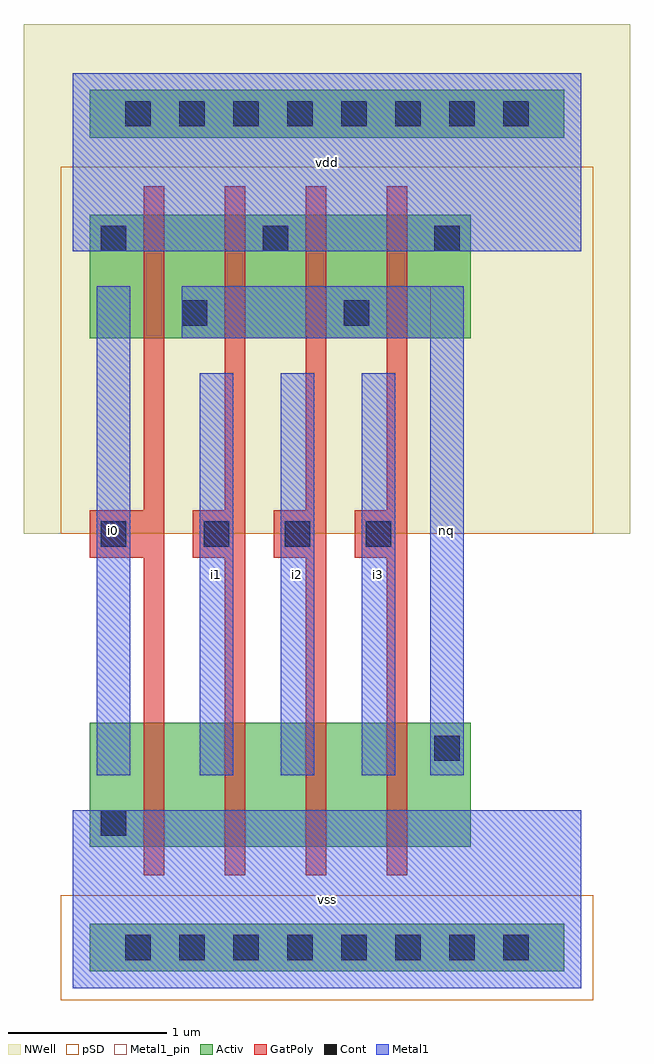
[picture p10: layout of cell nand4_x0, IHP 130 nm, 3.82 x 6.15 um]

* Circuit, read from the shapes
.subckt nand4_x0 i0 i1 i2 i3 nq vdd vss
XM1 n1 i0 vss vss sg13_lv_nmos w=0.78u l=0.13u
XM2 n2 i1 n1 vss sg13_lv_nmos w=0.78u l=0.13u
XM3 n3 i2 n2 vss sg13_lv_nmos w=0.78u l=0.13u
XM4 nq i3 n3 vss sg13_lv_nmos w=0.78u l=0.13u
XM5 nq i0 vdd vdd sg13_lv_pmos w=0.78u l=0.13u
XM6 vdd i1 nq vdd sg13_lv_pmos w=0.78u l=0.13u
XM7 nq i2 vdd vdd sg13_lv_pmos w=0.78u l=0.13u
XM8 vdd i3 nq vdd sg13_lv_pmos w=0.78u l=0.13u
.ends

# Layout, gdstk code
import gdstk
lib = gdstk.Library(unit=1e-6, precision=1e-09)
def R(c, l, rs):  # rectangles x0, y0, x1, y1
    for r in rs: c.add(gdstk.rectangle(r[:2], r[2:], *l))
def A(c, l, x, y, w, h, nx, ny, dx, dy):  # array of equal rectangles
    R(c, l, [(x+i*dx, y+j*dy, x+i*dx+w, y+j*dy+h) for i in range(nx) for j in range(ny)])
def P(c, l, *ps):  # polygons
    for p in ps: c.add(gdstk.Polygon(p, *l))
Activ = (1, 0)
GatPoly = (5, 0)
Cont = (6, 0)
Metal1 = (8, 0)
Metal1_pin = (8, 2)
pSD = (14, 0)
NWell = (31, 0)

nand4_x0 = lib.new_cell('nand4_x0')
P(nand4_x0, Activ, [(1.085,4.09),(1.085,4.87),(1.315,4.87),(1.315,4.09),(1.085,4.09)],
  [(1.975,4.09),(1.975,4.87),(2.105,4.87),(2.105,4.09),(1.975,4.09)],
  [(0.105,4.57),(0.105,4.87),(0.405,4.87),(0.405,4.57),(0.105,4.57)],
  [(0.105,4.09),(0.105,4.87),(0.405,4.87),(0.405,4.09),(0.105,4.09)],
  [(2.205,4.57),(2.205,4.87),(2.505,4.87),(2.505,4.57),(2.205,4.57)],
  [(2.205,4.09),(2.205,4.87),(2.505,4.87),(2.505,4.09),(2.205,4.09)],
  [(0.445,4.09),(0.445,4.87),(0.575,4.87),(0.575,4.09),(0.445,4.09)],
  [(1.125,4.57),(1.125,4.87),(1.425,4.87),(1.425,4.57),(1.125,4.57)],
  [(2.105,4.09),(2.105,4.87),(2.335,4.87),(2.335,4.09),(2.105,4.09)],
  [(2.175,4.09),(2.175,4.87),(2.505,4.87),(2.505,4.09),(2.175,4.09)],
  [(1.125,4.09),(1.125,4.87),(1.425,4.87),(1.425,4.09),(1.125,4.09)],
  [(0.955,4.09),(0.955,4.87),(1.085,4.87),(1.085,4.09),(0.955,4.09)],
  [(1.235,4.09),(1.235,4.87),(1.465,4.87),(1.465,4.09),(1.235,4.09)],
  [(1.465,4.09),(1.465,4.87),(1.595,4.87),(1.595,4.09),(1.465,4.09)],
  [(0.105,5.355),(0.105,5.655),(3.095,5.655),(3.095,5.355),(0.105,5.355)],
  [(0.105,4.09),(0.105,4.87),(0.375,4.87),(0.375,4.09),(0.105,4.09)],
  [(0.26,5.355),(0.26,5.655),(2.94,5.655),(2.94,5.355),(0.26,5.355)],
  [(1.155,4.09),(1.155,4.87),(1.395,4.87),(1.395,4.09),(1.155,4.09)],
  [(0.215,4.09),(0.215,4.87),(0.445,4.87),(0.445,4.09),(0.215,4.09)],
  [(0.215,0.89),(0.215,1.67),(0.445,1.67),(0.445,0.89),(0.215,0.89)],
  [(0.105,0.89),(0.105,1.67),(0.375,1.67),(0.375,0.89),(0.105,0.89)],
  [(0.105,0.89),(0.105,1.19),(0.405,1.19),(0.405,0.89),(0.105,0.89)],
  [(0.105,0.105),(0.105,0.405),(3.095,0.405),(3.095,0.105),(0.105,0.105)],
  [(0.105,0.89),(0.105,1.67),(0.405,1.67),(0.405,0.89),(0.105,0.89)],
  [(1.465,0.89),(1.465,1.67),(1.595,1.67),(1.595,0.89),(1.465,0.89)],
  [(0.955,0.89),(0.955,1.67),(1.085,1.67),(1.085,0.89),(0.955,0.89)],
  [(0.26,0.105),(0.26,0.405),(2.94,0.405),(2.94,0.105),(0.26,0.105)],
  [(0.445,0.89),(0.445,1.67),(0.575,1.67),(0.575,0.89),(0.445,0.89)],
  [(1.975,0.89),(1.975,1.67),(2.105,1.67),(2.105,0.89),(1.975,0.89)],
  [(0.575,0.89),(0.575,1.67),(0.805,1.67),(0.805,0.89),(0.575,0.89)],
  [(0.725,0.89),(0.725,1.67),(0.955,1.67),(0.955,0.89),(0.725,0.89)],
  [(0.58,0.89),(0.58,1.67),(0.95,1.67),(0.95,0.89),(0.58,0.89)],
  [(0.645,0.89),(0.645,1.67),(0.885,1.67),(0.885,0.89),(0.645,0.89)],
  [(1.745,0.89),(1.745,1.67),(1.975,1.67),(1.975,0.89),(1.745,0.89)],
  [(1.595,0.89),(1.595,1.67),(1.825,1.67),(1.825,0.89),(1.595,0.89)],
  [(1.665,0.89),(1.665,1.67),(1.905,1.67),(1.905,0.89),(1.665,0.89)],
  [(1.6,0.89),(1.6,1.67),(1.97,1.67),(1.97,0.89),(1.6,0.89)],
  [(1.09,0.89),(1.09,1.67),(1.46,1.67),(1.46,0.89),(1.09,0.89)],
  [(1.235,0.89),(1.235,1.67),(1.465,1.67),(1.465,0.89),(1.235,0.89)],
  [(1.085,0.89),(1.085,1.67),(1.315,1.67),(1.315,0.89),(1.085,0.89)],
  [(1.155,0.89),(1.155,1.67),(1.395,1.67),(1.395,0.89),(1.155,0.89)],
  [(1.595,4.09),(1.595,4.87),(1.825,4.87),(1.825,4.09),(1.595,4.09)],
  [(1.665,4.09),(1.665,4.87),(1.905,4.87),(1.905,4.09),(1.665,4.09)],
  [(0.575,4.09),(0.575,4.87),(0.805,4.87),(0.805,4.09),(0.575,4.09)],
  [(0.645,4.09),(0.645,4.87),(0.885,4.87),(0.885,4.09),(0.645,4.09)],
  [(0.615,4.1),(0.615,4.4),(0.915,4.4),(0.915,4.1),(0.615,4.1)],
  [(1.745,4.09),(1.745,4.87),(1.975,4.87),(1.975,4.09),(1.745,4.09)],
  [(2.105,0.89),(2.105,1.67),(2.335,1.67),(2.335,0.89),(2.105,0.89)],
  [(1.635,4.1),(1.635,4.4),(1.935,4.4),(1.935,4.1),(1.635,4.1)],
  [(2.175,0.89),(2.175,1.67),(2.505,1.67),(2.505,0.89),(2.175,0.89)],
  [(0.725,4.09),(0.725,4.87),(0.955,4.87),(0.955,4.09),(0.725,4.09)],
  [(0.615,4.09),(0.615,4.87),(0.915,4.87),(0.915,4.09),(0.615,4.09)],
  [(1.635,4.09),(1.635,4.87),(1.935,4.87),(1.935,4.09),(1.635,4.09)],
  [(2.205,1.36),(2.205,1.66),(2.505,1.66),(2.505,1.36),(2.205,1.36)],
  [(2.205,0.89),(2.205,1.67),(2.505,1.67),(2.505,0.89),(2.205,0.89)])
P(nand4_x0, GatPoly, [(0.445,0.71),(0.445,3.91),(0.575,3.91),(0.575,0.71),(0.445,0.71)],
  [(0.255,2.71),(0.255,3.01),(0.51,3.01),(0.51,2.71),(0.255,2.71)],
  [(0.445,0.71),(0.445,1.85),(0.575,1.85),(0.575,0.71),(0.445,0.71)],
  [(0.105,2.71),(0.105,3.01),(0.405,3.01),(0.405,2.71),(0.105,2.71)],
  [(0.445,3.91),(0.445,5.05),(0.575,5.05),(0.575,3.91),(0.445,3.91)],
  [(0.955,0.71),(0.955,1.85),(1.085,1.85),(1.085,0.71),(0.955,0.71)],
  [(0.905,2.71),(0.905,3.01),(1.02,3.01),(1.02,2.71),(0.905,2.71)],
  [(0.955,0.71),(0.955,3.91),(1.085,3.91),(1.085,0.71),(0.955,0.71)],
  [(0.955,3.91),(0.955,5.05),(1.085,5.05),(1.085,3.91),(0.955,3.91)],
  [(0.755,2.71),(0.755,3.01),(1.055,3.01),(1.055,2.71),(0.755,2.71)],
  [(1.465,0.71),(1.465,1.85),(1.595,1.85),(1.595,0.71),(1.465,0.71)],
  [(1.465,3.91),(1.465,5.05),(1.595,5.05),(1.595,3.91),(1.465,3.91)],
  [(1.465,0.71),(1.465,3.91),(1.595,3.91),(1.595,0.71),(1.465,0.71)],
  [(1.265,2.71),(1.265,3.01),(1.565,3.01),(1.565,2.71),(1.265,2.71)],
  [(1.415,2.71),(1.415,3.01),(1.53,3.01),(1.53,2.71),(1.415,2.71)],
  [(1.975,0.71),(1.975,1.85),(2.105,1.85),(2.105,0.71),(1.975,0.71)],
  [(1.775,2.71),(1.775,3.01),(2.075,3.01),(2.075,2.71),(1.775,2.71)],
  [(1.975,0.71),(1.975,3.91),(2.105,3.91),(2.105,0.71),(1.975,0.71)],
  [(1.925,2.71),(1.925,3.01),(2.04,3.01),(2.04,2.71),(1.925,2.71)],
  [(1.975,3.91),(1.975,5.05),(2.105,5.05),(2.105,3.91),(1.975,3.91)])
P(nand4_x0, Cont, [(2.275,4.64),(2.275,4.8),(2.435,4.8),(2.435,4.64),(2.275,4.64)],
  [(2.71,5.425),(2.71,5.585),(2.87,5.585),(2.87,5.425),(2.71,5.425)],
  [(2.37,5.425),(2.37,5.585),(2.53,5.585),(2.53,5.425),(2.37,5.425)],
  [(2.03,5.425),(2.03,5.585),(2.19,5.585),(2.19,5.425),(2.03,5.425)],
  [(1.69,5.425),(1.69,5.585),(1.85,5.585),(1.85,5.425),(1.69,5.425)],
  [(1.35,5.425),(1.35,5.585),(1.51,5.585),(1.51,5.425),(1.35,5.425)],
  [(1.01,5.425),(1.01,5.585),(1.17,5.585),(1.17,5.425),(1.01,5.425)],
  [(0.67,5.425),(0.67,5.585),(0.83,5.585),(0.83,5.425),(0.67,5.425)],
  [(0.33,5.425),(0.33,5.585),(0.49,5.585),(0.49,5.425),(0.33,5.425)],
  [(0.175,4.64),(0.175,4.8),(0.335,4.8),(0.335,4.64),(0.175,4.64)],
  [(1.195,4.64),(1.195,4.8),(1.355,4.8),(1.355,4.64),(1.195,4.64)],
  [(0.175,0.96),(0.175,1.12),(0.335,1.12),(0.335,0.96),(0.175,0.96)],
  [(0.33,0.175),(0.33,0.335),(0.49,0.335),(0.49,0.175),(0.33,0.175)],
  [(0.67,0.175),(0.67,0.335),(0.83,0.335),(0.83,0.175),(0.67,0.175)],
  [(1.01,0.175),(1.01,0.335),(1.17,0.335),(1.17,0.175),(1.01,0.175)],
  [(1.35,0.175),(1.35,0.335),(1.51,0.335),(1.51,0.175),(1.35,0.175)],
  [(1.69,0.175),(1.69,0.335),(1.85,0.335),(1.85,0.175),(1.69,0.175)],
  [(2.03,0.175),(2.03,0.335),(2.19,0.335),(2.19,0.175),(2.03,0.175)],
  [(2.37,0.175),(2.37,0.335),(2.53,0.335),(2.53,0.175),(2.37,0.175)],
  [(2.71,0.175),(2.71,0.335),(2.87,0.335),(2.87,0.175),(2.71,0.175)],
  [(0.175,2.78),(0.175,2.94),(0.335,2.94),(0.335,2.78),(0.175,2.78)],
  [(0.825,2.78),(0.825,2.94),(0.985,2.94),(0.985,2.78),(0.825,2.78)],
  [(1.335,2.78),(1.335,2.94),(1.495,2.94),(1.495,2.78),(1.335,2.78)],
  [(1.845,2.78),(1.845,2.94),(2.005,2.94),(2.005,2.78),(1.845,2.78)],
  [(1.705,4.17),(1.705,4.33),(1.865,4.33),(1.865,4.17),(1.705,4.17)],
  [(0.685,4.17),(0.685,4.33),(0.845,4.33),(0.845,4.17),(0.685,4.17)],
  [(2.275,1.43),(2.275,1.59),(2.435,1.59),(2.435,1.43),(2.275,1.43)])
A(nand4_x0, Metal1, 0.8, 1.34, 0.21, 2.53, 3, 1, 0.51, 0)
R(nand4_x0, Metal1, [(0,0,3.2,1.12), (0.15,1.34,0.36,4.42), (2.25,1.34,2.46,4.42), (0,4.64,3.2,5.76)])
P(nand4_x0, Metal1, [(2.195,4.64),(2.195,4.8),(2.515,4.8),(2.515,4.64),(2.195,4.64)],
  [(1.115,4.64),(1.115,4.8),(1.435,4.8),(1.435,4.64),(1.115,4.64)],
  [(0,4.64),(0,5.76),(3.2,5.76),(3.2,4.64),(0,4.64)],
  [(0.095,4.64),(0.095,4.8),(0.415,4.8),(0.415,4.64),(0.095,4.64)],
  [(0.33,5.345),(0.33,5.665),(2.87,5.665),(2.87,5.345),(0.33,5.345)],
  [(0.33,0.095),(0.33,0.415),(2.87,0.415),(2.87,0.095),(0.33,0.095)],
  [(0.095,0.96),(0.095,1.12),(0.415,1.12),(0.415,0.96),(0.095,0.96)],
  [(0,0),(0,1.12),(3.2,1.12),(3.2,0),(0,0)],
  [(0.15,1.34),(0.15,4.42),(0.36,4.42),(0.36,1.34),(0.15,1.34)],
  [(0.175,2.7),(0.175,3.02),(0.335,3.02),(0.335,2.7),(0.175,2.7)],
  [(0.8,1.34),(0.8,3.87),(1.01,3.87),(1.01,1.34),(0.8,1.34)],
  [(0.825,2.7),(0.825,3.02),(0.985,3.02),(0.985,2.7),(0.825,2.7)],
  [(1.31,1.34),(1.31,3.87),(1.52,3.87),(1.52,1.34),(1.31,1.34)],
  [(1.335,2.7),(1.335,3.02),(1.495,3.02),(1.495,2.7),(1.335,2.7)],
  [(1.82,1.34),(1.82,3.87),(2.03,3.87),(2.03,1.34),(1.82,1.34)],
  [(1.845,2.7),(1.845,3.02),(2.005,3.02),(2.005,2.7),(1.845,2.7)],
  [(2.275,1.35),(2.275,1.67),(2.435,1.67),(2.435,1.35),(2.275,1.35)],
  [(1.705,4.09),(1.705,4.42),(1.865,4.42),(1.865,4.09),(1.705,4.09)],
  [(2.275,1.34),(2.275,1.67),(2.435,1.67),(2.435,1.34),(2.275,1.34)],
  [(2.25,4.09),(2.25,4.41),(2.46,4.41),(2.46,4.09),(2.25,4.09)],
  [(0.765,4.09),(0.765,4.42),(2.355,4.42),(2.355,4.09),(0.765,4.09)],
  [(2.25,1.34),(2.25,4.42),(2.46,4.42),(2.46,1.34),(2.25,1.34)],
  [(1.705,4.09),(1.705,4.41),(1.865,4.41),(1.865,4.09),(1.705,4.09)],
  [(0.685,4.09),(0.685,4.42),(0.845,4.42),(0.845,4.09),(0.685,4.09)],
  [(0.685,4.09),(0.685,4.41),(0.845,4.41),(0.845,4.09),(0.685,4.09)])
R(nand4_x0, Metal1_pin, [(0,0,3.2,1.12), (0,0,3.2,1.12), (0.15,1.34,0.36,4.42), (0.15,1.34,0.36,4.42), (0.8,1.34,1.01,3.87), (0.8,1.34,1.01,3.87), (1.31,1.34,1.52,3.87), (1.31,1.34,1.52,3.87), (1.82,1.34,2.03,3.87), (1.82,1.34,2.03,3.87), (2.25,1.34,2.46,4.42), (2.25,1.34,2.46,4.42), (0,4.64,3.2,5.76), (0,4.64,3.2,5.76)])
P(nand4_x0, pSD, [(-0.075,2.86),(-0.075,5.17),(3.275,5.17),(3.275,2.86),(-0.075,2.86)],
  [(0.945,4.27),(0.945,5.17),(1.605,5.17),(1.605,4.27),(0.945,4.27)],
  [(1.455,3.8),(1.455,4.7),(2.115,4.7),(2.115,3.8),(1.455,3.8)],
  [(1.995,3.79),(1.995,5.17),(2.685,5.17),(2.685,3.79),(1.995,3.79)],
  [(2.025,4.27),(2.025,5.17),(2.685,5.17),(2.685,4.27),(2.025,4.27)],
  [(0.08,-0.075),(0.08,0.585),(3.12,0.585),(3.12,-0.075),(0.08,-0.075)],
  [(0.975,3.79),(0.975,5.17),(1.575,5.17),(1.575,3.79),(0.975,3.79)],
  [(0.545,3.91),(0.545,5.05),(1.495,5.05),(1.495,3.91),(0.545,3.91)],
  [(1.055,3.91),(1.055,5.05),(2.005,5.05),(2.005,3.91),(1.055,3.91)],
  [(-0.075,-0.075),(-0.075,0.585),(3.275,0.585),(3.275,-0.075),(-0.075,-0.075)],
  [(1.165,3.79),(1.165,5.17),(1.895,5.17),(1.895,3.79),(1.165,3.79)],
  [(-0.075,3.79),(-0.075,5.17),(0.555,5.17),(0.555,3.79),(-0.075,3.79)],
  [(-0.075,3.79),(-0.075,5.17),(0.585,5.17),(0.585,3.79),(-0.075,3.79)],
  [(0.655,3.79),(0.655,5.17),(1.385,5.17),(1.385,3.79),(0.655,3.79)],
  [(0.435,3.8),(0.435,4.7),(1.095,4.7),(1.095,3.8),(0.435,3.8)],
  [(0.435,3.79),(0.435,5.17),(1.095,5.17),(1.095,3.79),(0.435,3.79)],
  [(2.025,3.79),(2.025,5.17),(2.685,5.17),(2.685,3.79),(2.025,3.79)],
  [(0.035,3.91),(0.035,5.05),(0.985,5.05),(0.985,3.91),(0.035,3.91)],
  [(-0.075,4.27),(-0.075,5.17),(0.585,5.17),(0.585,4.27),(-0.075,4.27)],
  [(0.945,3.79),(0.945,5.17),(1.605,5.17),(1.605,3.79),(0.945,3.79)],
  [(1.455,3.79),(1.455,5.17),(2.115,5.17),(2.115,3.79),(1.455,3.79)],
  [(0.145,3.79),(0.145,5.17),(0.875,5.17),(0.875,3.79),(0.145,3.79)],
  [(1.675,3.79),(1.675,5.17),(2.405,5.17),(2.405,3.79),(1.675,3.79)],
  [(0.465,3.79),(0.465,5.17),(1.065,5.17),(1.065,3.79),(0.465,3.79)],
  [(1.565,3.91),(1.565,5.05),(2.515,5.05),(2.515,3.91),(1.565,3.91)],
  [(1.485,3.79),(1.485,5.17),(2.085,5.17),(2.085,3.79),(1.485,3.79)])
P(nand4_x0, NWell, [(1.895,3.78),(1.895,5.18),(2.815,5.18),(2.815,3.78),(1.895,3.78)],
  [(-0.05,5.045),(-0.05,5.965),(3.25,5.965),(3.25,5.045),(-0.05,5.045)],
  [(0.845,3.78),(0.845,5.18),(1.705,5.18),(1.705,3.78),(0.845,3.78)],
  [(1.435,3.78),(1.435,5.18),(2.645,5.18),(2.645,3.78),(1.435,3.78)],
  [(-0.205,5.045),(-0.205,5.965),(3.405,5.965),(3.405,5.045),(-0.205,5.045)],
  [(-0.205,3.78),(-0.205,5.18),(0.715,5.18),(0.715,3.78),(-0.205,3.78)],
  [(0.815,3.78),(0.815,5.18),(1.735,5.18),(1.735,3.78),(0.815,3.78)],
  [(1.895,4.26),(1.895,5.18),(2.815,5.18),(2.815,4.26),(1.895,4.26)],
  [(1.325,3.79),(1.325,4.71),(2.245,4.71),(2.245,3.79),(1.325,3.79)],
  [(-0.205,4.26),(-0.205,5.18),(0.715,5.18),(0.715,4.26),(-0.205,4.26)],
  [(0.415,3.78),(0.415,5.18),(1.625,5.18),(1.625,3.78),(0.415,3.78)],
  [(1.355,3.78),(1.355,5.18),(2.215,5.18),(2.215,3.78),(1.355,3.78)],
  [(0.305,3.79),(0.305,4.71),(1.225,4.71),(1.225,3.79),(0.305,3.79)],
  [(0.815,4.26),(0.815,5.18),(1.735,5.18),(1.735,4.26),(0.815,4.26)],
  [(0.925,3.78),(0.925,5.18),(2.135,5.18),(2.135,3.78),(0.925,3.78)],
  [(1.325,3.78),(1.325,5.18),(2.245,5.18),(2.245,3.78),(1.325,3.78)],
  [(0.305,3.78),(0.305,5.18),(1.225,5.18),(1.225,3.78),(0.305,3.78)],
  [(0.335,3.78),(0.335,5.18),(1.195,5.18),(1.195,3.78),(0.335,3.78)],
  [(-0.31,2.86),(-0.31,6.07),(3.51,6.07),(3.51,2.86),(-0.31,2.86)],
  [(-0.205,3.78),(-0.205,5.18),(0.685,5.18),(0.685,3.78),(-0.205,3.78)],
  [(-0.095,3.78),(-0.095,5.18),(1.115,5.18),(1.115,3.78),(-0.095,3.78)],
  [(1.865,3.78),(1.865,5.18),(2.815,5.18),(2.815,3.78),(1.865,3.78)])
nand4_x0.add(gdstk.Label('vdd', (1.6,5.2), layer=8, texttype=25))
nand4_x0.add(gdstk.Label('vss', (1.6,0.56), layer=8, texttype=25))
nand4_x0.add(gdstk.Label('i0', (0.255,2.88), layer=8, texttype=25))
nand4_x0.add(gdstk.Label('i1', (0.905,2.605), layer=8, texttype=25))
nand4_x0.add(gdstk.Label('i2', (1.415,2.605), layer=8, texttype=25))
nand4_x0.add(gdstk.Label('i3', (1.925,2.605), layer=8, texttype=25))
nand4_x0.add(gdstk.Label('nq', (2.355,2.88), layer=8, texttype=25))

lib.write_gds('nand4_x0.gds')
